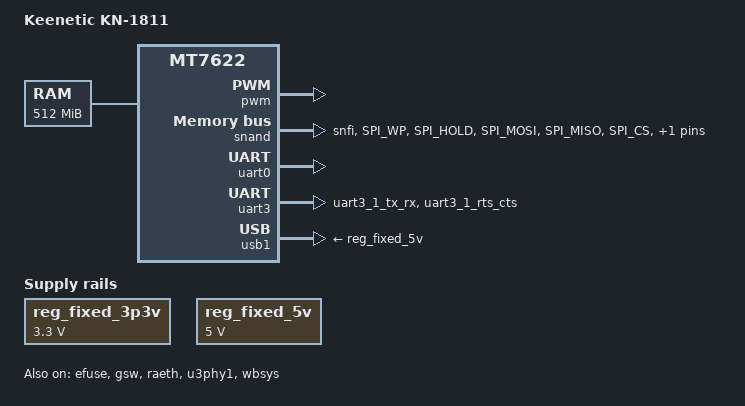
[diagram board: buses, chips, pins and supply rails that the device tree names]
/*
 * Copyright (c) 2017 MediaTek Inc.
 * Author: Ming Huang <ming.huang@mediatek.com>
 *
 * This program is free software; you can redistribute it and/or modify
 * it under the terms of the GNU General Public License version 2 as
 * published by the Free Software Foundation.
 *
 * This program is distributed in the hope that it will be useful,
 * but WITHOUT ANY WARRANTY; without even the implied warranty of
 * MERCHANTABILITY or FITNESS FOR A PARTICULAR PURPOSE.  See the
 * GNU General Public License for more details.
 */

/dts-v1/;
#include <dt-bindings/gpio/gpio.h>
#include <dt-bindings/pinctrl/mt65xx.h>
#include <mediatek/mt7622.dtsi>
#include <mediatek/mt6380.dtsi>

/ {
	model = "Keenetic KN-1811";
	compatible = "keenetic,kn-1811", "mediatek,mt7622";

	chosen {
		bootargs = "console=ttyS0,115200n1 loglevel=8 swiotlb=512 rootfstype=squashfs";
	};

	memory@40000000 {
		device_type = "memory";
		reg = <0 0x40000000 0 0x20000000>;
	};

	reg_fixed_3p3v: regulator-3p3v {
		compatible = "regulator-fixed";
		regulator-name = "fixed-3.3V";
		regulator-min-microvolt = <3300000>;
		regulator-max-microvolt = <3300000>;
		regulator-always-on;
	};

	reg_fixed_5v: regulator-5v {
		compatible = "regulator-fixed";
		regulator-name = "fixed-5V";
		regulator-min-microvolt = <5000000>;
		regulator-max-microvolt = <5000000>;
		regulator-always-on;
	};
};

&bch {
	status = "disabled";
};

&cpu0 {
	proc-supply = <&mt6380_vcpu_reg>;
	sram-supply = <&mt6380_vm_reg>;
};

&cpu1 {
	proc-supply = <&mt6380_vcpu_reg>;
	sram-supply = <&mt6380_vm_reg>;
};

&efuse {
	status = "okay";
};

&gsw {
	interrupt-parent = <&pio>;
	interrupts = <53 IRQ_TYPE_LEVEL_HIGH>,
		     <19 IRQ_TYPE_LEVEL_LOW>;
	status = "okay";
};

&raeth {
	dma-coherent;
	status = "okay";
};

&wed2 {
	status = "disabled";
};

&i2c0 {
	status = "disabled";
};

&i2c1 {
	status = "disabled";
};

&i2c2 {
	status = "disabled";
};

&pio {
	uart3_pins: uart3-pins {
		mux {
			function = "uart";
			groups = "uart3_1_tx_rx",
				 "uart3_1_rts_cts";
		};
	};

	snand_pins_default: snand-pins-default {
		mux {
			function = "flash";
			groups = "snfi";
		};

		conf-cmd-dat {
			pins = "SPI_WP", "SPI_HOLD", "SPI_MOSI",
			       "SPI_MISO", "SPI_CS";
			input-enable;
			drive-strength = <MTK_DRIVE_16mA>;
			bias-pull-up;
		};

		conf-clk {
			pins = "SPI_CLK";
			drive-strength = <MTK_DRIVE_16mA>;
			bias-pull-down;
		};
	};

	wbsys_pins_default: wbsysdefault {
	};
};

&pwm {
	status = "okay";
};

&snand {
	pinctrl-names = "default";
	pinctrl-0 = <&snand_pins_default>;
	status = "okay";
};

&svs {
	vproc-supply = <&mt6380_vcpu_reg>;
};

&uart0 {
	status = "okay";
};

&uart3 {
	pinctrl-names = "default";
	pinctrl-0 = <&uart3_pins>;
	status = "okay";
};

&usb1 {
	vusb33-supply = <&reg_fixed_3p3v>;
	vbus-supply = <&reg_fixed_5v>;
	status = "okay";
};

&u3phy1 {
	status = "okay";
};

&sata {
	status = "disabled";
};

&wbsys {
	pinctrl-names = "default";
	pinctrl-0 = <&wbsys_pins_default>;
	status = "okay";
};
